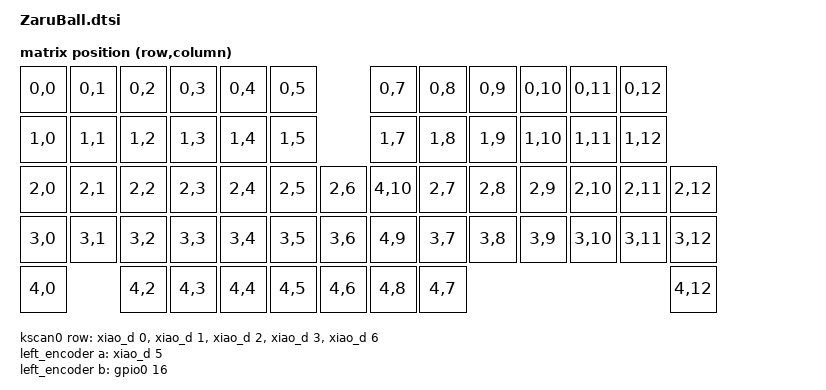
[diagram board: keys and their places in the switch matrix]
#include <dt-bindings/zmk/pointing.h>
#include <dt-bindings/zmk/matrix_transform.h>
#include <physical_layouts.dtsi>

/ {
    chosen {
        zmk,kscan = &kscan0;
        zmk,physical-layout = &physical_layout0;
    };

    physical_layout0: physical_layout0 {
        compatible = "zmk,physical-layout";
        display-name = "Default Layout";
        transform = <&default_transform>;

        keys = <
            &key_physical_attrs 100 100    0   50  0 0 0>,
            <&key_physical_attrs 100 100  100   50  0 0 0>,
            <&key_physical_attrs 100 100  200   25  0 0 0>,
            <&key_physical_attrs 100 100  300    0  0 0 0>,
            <&key_physical_attrs 100 100  400   25  0 0 0>,
            <&key_physical_attrs 100 100  500   50  0 0 0>,

            <&key_physical_attrs 100 100 1000   50  0 0 0>,
            <&key_physical_attrs 100 100 1100   25  0 0 0>,
            <&key_physical_attrs 100 100 1200    0  0 0 0>,
            <&key_physical_attrs 100 100 1300   25  0 0 0>,
            <&key_physical_attrs 100 100 1400   50  0 0 0>,
            <&key_physical_attrs 100 100 1500   50  0 0 0>,

            <&key_physical_attrs 100 100    0  150  0 0 0>,
            <&key_physical_attrs 100 100  100  150  0 0 0>,
            <&key_physical_attrs 100 100  200  125  0 0 0>,
            <&key_physical_attrs 100 100  300  100  0 0 0>,
            <&key_physical_attrs 100 100  400  125  0 0 0>,
            <&key_physical_attrs 100 100  500  150  0 0 0>,

            <&key_physical_attrs 100 100 1000  150  0 0 0>,
            <&key_physical_attrs 100 100 1100  125  0 0 0>,
            <&key_physical_attrs 100 100 1200  100  0 0 0>,
            <&key_physical_attrs 100 100 1300  125  0 0 0>,
            <&key_physical_attrs 100 100 1400  150  0 0 0>,
            <&key_physical_attrs 100 100 1500  150  0 0 0>,

            <&key_physical_attrs 100 100    0  250  0 0 0>,
            <&key_physical_attrs 100 100  100  250  0 0 0>,
            <&key_physical_attrs 100 100  200  225  0 0 0>,
            <&key_physical_attrs 100 100  300  200  0 0 0>,
            <&key_physical_attrs 100 100  400  225  0 0 0>,
            <&key_physical_attrs 100 100  500  250  0 0 0>,
            <&key_physical_attrs 100 100  600  250  0 0 0>,

            <&key_physical_attrs 100 100  900  250  0 0 0>,
            <&key_physical_attrs 100 100 1000  250  0 0 0>,
            <&key_physical_attrs 100 100 1100  225  0 0 0>,
            <&key_physical_attrs 100 100 1200  200  0 0 0>,
            <&key_physical_attrs 100 100 1300  225  0 0 0>,
            <&key_physical_attrs 100 100 1400  250  0 0 0>,
            <&key_physical_attrs 100 100 1500  250  0 0 0>,

            <&key_physical_attrs 100 100    0  350  0 0 0>,
            <&key_physical_attrs 100 100  100  350  0 0 0>,
            <&key_physical_attrs 100 100  200  325  0 0 0>,
            <&key_physical_attrs 100 100  300  300  0 0 0>,
            <&key_physical_attrs 100 100  400  325  0 0 0>,
            <&key_physical_attrs 100 100  500  350  0 0 0>,
            <&key_physical_attrs 100 100  600  350  0 0 0>,

            <&key_physical_attrs 100 100  900  350  0 0 0>,
            <&key_physical_attrs 100 100 1000  350  0 0 0>,
            <&key_physical_attrs 100 100 1100  325  0 0 0>,
            <&key_physical_attrs 100 100 1200  300  0 0 0>,
            <&key_physical_attrs 100 100 1300  325  0 0 0>,
            <&key_physical_attrs 100 100 1400  350  0 0 0>,
            <&key_physical_attrs 100 100 1500  350  0 0 0>
        ;
    };

    default_transform: keymap_transform0 {
        compatible = "zmk,matrix-transform";
        columns = <13>;
        rows = <5>;
        map = <
            RC(0,0) RC(0,1) RC(0,2) RC(0,3) RC(0,4) RC(0,5)          RC(0,7) RC(0,8) RC(0,9) RC(0,10) RC(0,11) RC(0,12)
            RC(1,0) RC(1,1) RC(1,2) RC(1,3) RC(1,4) RC(1,5)          RC(1,7) RC(1,8) RC(1,9) RC(1,10) RC(1,11) RC(1,12)
            RC(2,0) RC(2,1) RC(2,2) RC(2,3) RC(2,4) RC(2,5) RC(2,6)  RC(4,10) RC(2,7) RC(2,8) RC(2,9) RC(2,10) RC(2,11) RC(2,12)
            RC(3,0) RC(3,1) RC(3,2) RC(3,3) RC(3,4) RC(3,5) RC(3,6)  RC(4,9) RC(3,7) RC(3,8) RC(3,9) RC(3,10) RC(3,11) RC(3,12)
            RC(4,0)         RC(4,2) RC(4,3) RC(4,4) RC(4,5) RC(4,6)  RC(4,8) RC(4,7)                                 RC(4,12)
        >;
    };

    kscan0: kscan0 {
        compatible = "zmk,kscan-gpio-matrix";
        diode-direction = "col2row";
        wakeup-source;
        row-gpios = <
            &xiao_d 0 (GPIO_ACTIVE_HIGH | GPIO_PULL_DOWN)>,
            <&xiao_d 1 (GPIO_ACTIVE_HIGH | GPIO_PULL_DOWN)>,
            <&xiao_d 2 (GPIO_ACTIVE_HIGH | GPIO_PULL_DOWN)>,
            <&xiao_d 3 (GPIO_ACTIVE_HIGH | GPIO_PULL_DOWN)>,
            <&xiao_d 6 (GPIO_ACTIVE_HIGH | GPIO_PULL_DOWN)>
        ;
    };

    left_encoder: encoder_left {
        compatible = "alps,ec11";
        a-gpios = <&xiao_d 5 (GPIO_ACTIVE_HIGH | GPIO_PULL_UP)>;
        b-gpios = <&gpio0 16 (GPIO_ACTIVE_HIGH | GPIO_PULL_UP)>;
        steps = <80>;
        status = "okay";
    };

    sensors: sensors {
        compatible = "zmk,keymap-sensors";
        sensors = <&left_encoder>;
        triggers-per-rotation = <20>;
    };
};
